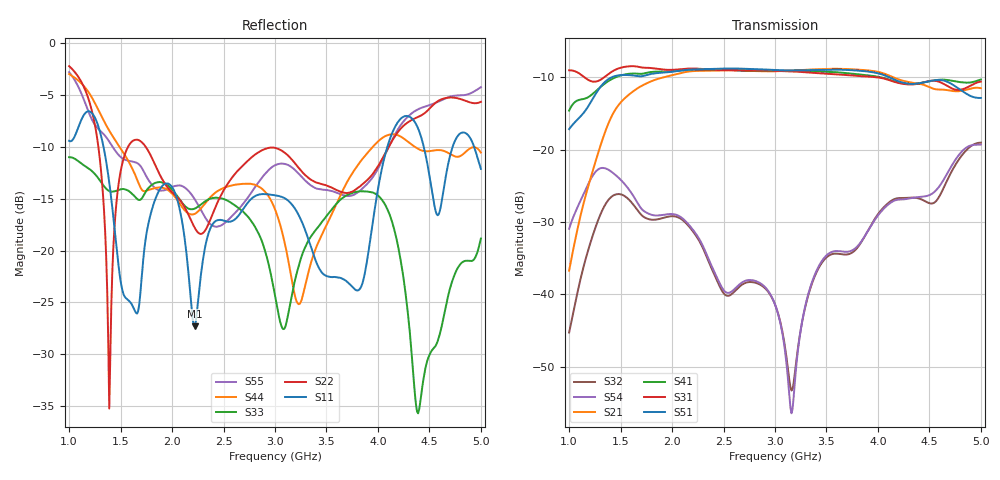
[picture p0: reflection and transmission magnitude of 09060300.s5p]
! AWR Design Environment (19377) Sat Dec 27 02:21:50 2025
! Document = 'EM_Extract_4_way'
! nPorts: 5, nXvals: 401
! Created with skrf 1.8.0 (http://scikit-rf.org).
# GHz S RI R 50.0
!freq ReS11 ImS11 ReS12 ImS12 ReS13 ImS13
! ReS14 ImS14 ReS15 ImS15
! ReS21 ImS21 ReS22 ImS22 ReS23 ImS23
! ReS24 ImS24 ReS25 ImS25
! ReS31 ImS31 ReS32 ImS32 ReS33 ImS33
! ReS34 ImS34 ReS35 ImS35
! ReS41 ImS41 ReS42 ImS42 ReS43 ImS43
! ReS44 ImS44 ReS45 ImS45
! ReS51 ImS51 ReS52 ImS52 ReS53 ImS53
! ReS54 ImS54 ReS55 ImS55
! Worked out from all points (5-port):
!   401 points, 1 GHz to 5 GHz, reference 50 ohm
!   strongest paths, dB at 1 GHz, 2 GHz, 3 GHz, 4 GHz, 5 GHz:
!     S51: -17.2, -9.3, -9.0, -9.5, -12.9
!     S31: -9.0, -9.0, -9.1, -10.0, -10.6
!     S41: -14.6, -9.2, -9.1, -9.9, -10.3
!     S21: -36.7, -9.7, -9.2, -9.3, -11.5
!     S54: -30.9, -28.9, -41.4, -29.1, -19.3
!     S32: -45.3, -29.2, -41.4, -28.9, -19.0
!   lowest |S11| = -27.3 dB at 2.22 GHz (marker M1), VSWR 1.09, Z = 54.1 - j1.81 ohm
!   |S11| at or under -10 dB: 1.335 GHz to 4.091 GHz (2.756 GHz wide, 102 % of centre); 4.446 GHz to 4.725 GHz (279.6 MHz wide, 6.1 % of centre); 4.935 GHz to end of sweep
